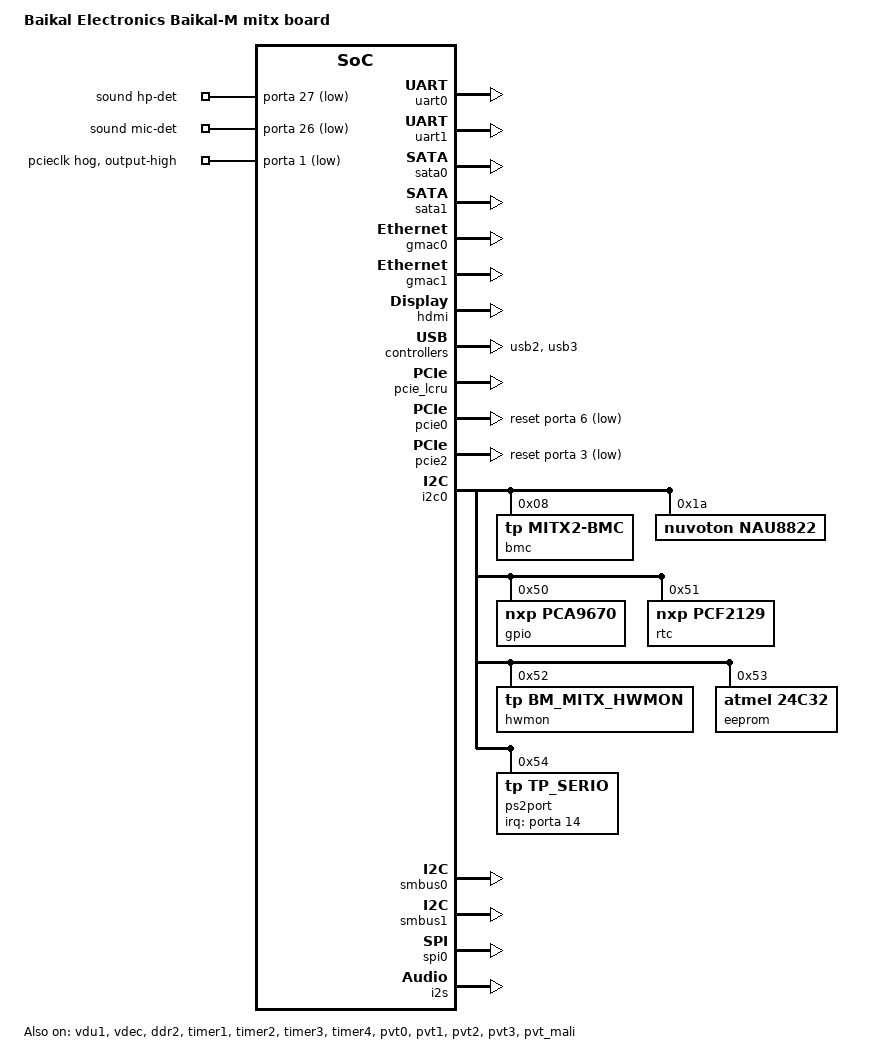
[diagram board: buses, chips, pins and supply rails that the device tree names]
// SPDX-License-Identifier: GPL-2.0
/*
 * Baikal-M Mini-ITX board device tree (test version)
 *
 */

/dts-v1/;

#include "bm-soc.dtsi"
#include "bm-mali.dtsi"

/ {

	model = "Baikal Electronics Baikal-M mitx board";
	compatible = "baikal,baikal-m";
	#address-cells = <2>;
	#size-cells = <2>;

	cmu_cluster0 {
		clock-frequency = <1500000000>;
	};

	cmu_cluster1 {
		clock-frequency = <1500000000>;
	};

	cmu_cluster2 {
		clock-frequency = <1500000000>;
	};

	cmu_cluster3 {
		clock-frequency = <1500000000>;
	};

	chosen {
		/*stdout-path = "serial0:115200n8";
		bootargs = "root=/dev/ram rw rootwait console=ttyS0,115200n8 earlyprintk=uart8250,mmio32,0x20230000,115200";
		linux,initrd-start = <0x0 0x80490000>;
		linux,initrd-end = <0x0 0x81490000>;*/
	};

	/*
	reserved-memory {
		#address-cells = <1>;
		#size-cells = <1>;
		ranges;
		display_reserved: framebuffer@90200000 {
			reg = <0x90200000 0xfe00000>;
		};
	};*/
	sound {
		compatible = "simple-audio-card";
		simple-audio-card,name = "MITX-Sound-Card";
		simple-audio-card,bitclock-master = <&codec0>;
		simple-audio-card,frame-master = <&codec0>;
		simple-audio-card,widgets =
			"Microphone", "Mic Jack",
			"Headphone", "Headphones",
			"Speaker", "AUX Out",
			"Line", "Line In";
		simple-audio-card,routing =
			"Headphones", "RHP",
			"Headphones", "LHP",
			"AUX Out", "AUXOUT1",
			"AUX Out", "AUXOUT2",
			"L2", "Mic Jack",
			"R2", "Mic Jack",
			"LAUX", "Line In",
			"RAUX", "Line In";

		simple-audio-card,hp-det-gpio = <&porta 27 GPIO_ACTIVE_LOW>;
		simple-audio-card,mic-det-gpio = <&porta 26 GPIO_ACTIVE_LOW>;
		simple-audio-card,format = "i2s";

		simple-audio-card,cpu {
			sound-dai = <&i2s>;
		};
		codec0: simple-audio-card,codec {
			sound-dai = <&nau8822 0>;
		};
	};
};

&uart0 {
	status = "okay";
};

&uart1 {
	status = "okay";
};

&sata0 {
	status = "okay";
};

&sata1 {
	status = "okay";
};

&gmac0 {
	status = "okay";
};

&gmac1 {
	status = "okay";
};

&vdu0 {
//	status = "okay";
	num-lanes = <4>;
	port {
		vdu_lvds_out: endpoint {
			remote-endpoint = <&stdp_lvds_in>;
		};
	};

};

&hdmi {
	status = "okay";
};

&vdu1 {
	status = "okay";
};

&vdec {
	status = "okay";
};

&gpio {
	status = "okay";
};

&ddr2 {
	status = "okay";
};

&gpu {
	system-coherency = <0>;
};

&usb2 {
	status = "okay";
};

&usb3 {
	status = "okay";
};

&mmc0 {
//	status = "okay";
};

&pcie_lcru {
	status = "okay";
};

&pcie0 {
	status = "okay";
	reset-gpios = <&porta 6 GPIO_ACTIVE_LOW>;
};

&pcie2 {
	status = "okay";
	reset-gpios = <&porta 3 GPIO_ACTIVE_LOW>;
};

&timer1 {
	status = "okay";
};

&timer2 {
	status = "okay";
};

&timer3 {
	status = "okay";
};

&timer4 {
	status = "okay";
};

&pvt0 {
	status = "okay";
};

&pvt1 {
	status = "okay";
};

&pvt2 {
	status = "okay";
};

&pvt3 {
	status = "okay";
};

&pvt_mali {
	status = "okay";
};

&i2c0 {
	status = "okay";

	bmc@8 {
		compatible = "tp,mitx2-bmc", "t-platforms,mitx2-bmc";
		reg = <0x08>;
	};

	nau8822: nau8822@1a {
		compatible = "nuvoton,nau8822";
		#sound-dai-cells = <1>;
		reg = <0x1a>;
	};

	gpio@50 {
		compatible = "nxp,pca9670";
		#gpio-cells = <2>;
		gpio-controller;
		reg = <0x50>;
	};

	rtc@51 {
		compatible = "nxp,pcf2129", "nxp,pcf2127";
		reg = <0x51>;
	};

	hwmon@52 {
		compatible = "tp,bm_mitx_hwmon";
		reg = <0x52>;
	};

	eeprom@53 {
		compatible = "atmel,24c32";
		pagesize = <32>;
		reg = <0x53>;
	};

	ps2port@54 {
		compatible = "tp,tp_serio";
		reg = <0x54>;
		interrupt-parent = <&porta>;
		interrupts = <14 8>;
	};

};

&i2c1 {
	status = "disabled";

	stdp_bridge@73 {
		compatible = "megachips,stdp4028-lvds-dp";
		reg = <0x73>;
		channels = <4>;
		chan-cfg = <6>;
		interrupt-parent = <&porta>;
		interrupts = <20 IRQ_TYPE_LEVEL_HIGH>;
		reset-gpios = <&porta 19 GPIO_ACTIVE_HIGH>;

		port {
			stdp_lvds_in: endpoint {
				remote-endpoint = <&vdu_lvds_out>;
			};
		};
	};
};

&smbus0 {
	status = "okay";
};

&smbus1 {
	status = "okay";
};

&spi0 {
	num-cs = <4>;

	cs-gpios = <0>;
	status = "okay";

};

&porta {
	pcieclk {
		line_name = "pcie-x8-clock";
		gpio-hog;
		gpios = <1 GPIO_ACTIVE_LOW>;
		output-high;
	};
};

&i2s {
	status = "okay";
	system-clock-frequency = <12000000>;
	#sound-dai-cells = <0>;
};

&mdio0 {
	status = "disabled";
};
